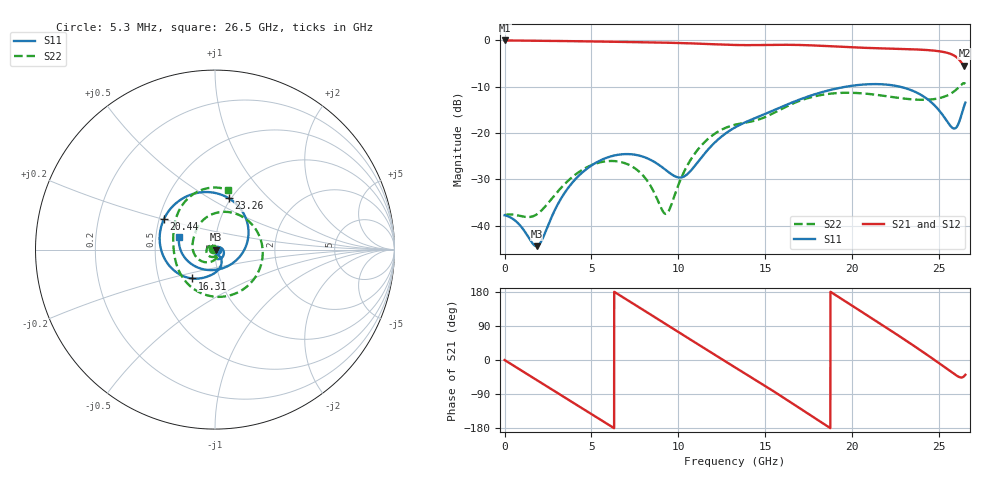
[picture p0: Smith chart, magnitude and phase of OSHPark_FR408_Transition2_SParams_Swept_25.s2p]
! TOUCHSTONE file generated by CST MICROWAVE STUDIO
! Date and time: Tue Jan  7 09:43:39 2020
! Project name: OSHPark_FR408_Transition2.cst
! Parameters = {GND_Plane_XMax=12.25; Cap_Disk_XOffset=0; Cap_Disk2_YCenter=-1.03; Cap_Disk_YCenter=1.03; Cap_Disk_XCenter=7.39; Cap_Disk_Radius=0.5; BottomSupport_Left_YMax=4.76; BottomSupport_Left_YMin=3.74; BottomSupport_Right_YMax=-3.74; BottomSupport_Right_YMin=-4.76; BottomSupport_XMax=11.64; 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
! Header version: 2015
! Port assignment regex: !\s*Touchstone port\s*([0-9]+)\s*=\s*CST MWS port\s*([0-9]+)\s*\(\"(.*)\"\)(\s*mode\s*([0-9]+))?.*
! Touchstone port assignment:
! Touchstone port 1 = CST MWS port 1 ("")
! Touchstone port 2 = CST MWS port 2 ("")
# GHz S MA R 50
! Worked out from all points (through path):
!   5000 points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, 5.3 MHz to 26.5 GHz, reference 50 ohm
!   highest |S21| = 0.00 dB at 10.6 MHz (marker M1); lowest = -5.4 dB at 26.44 GHz (marker M2)
!   group delay of S21, straight-line fit = 80.8 ps
!   lowest |S11| = -44.5 dB at 1.839 GHz (marker M3), VSWR 1.01, Z = 50.6 + j0.0345 ohm
!   |S11| at or under -10 dB: start of sweep to 19.62 GHz; 22.74 GHz to end of sweep
!   |S22| runs from -38.2 to -9.2 dB; largest |S21 - S12| = 0
!   S11 on the Smith chart (normalised r, x): 5.3 MHz: 1.02, -0.01; 16.31 GHz: 0.74, -0.25; 20.44 GHz: 0.53, +0.20; 23.26 GHz: 0.98, +0.61; 26.5 GHz: 0.66, +0.10
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0.0053  0.01291 -22.8  0.9999 -0.2  0.9999 -0.2  0.01303 155.4
0.0106  0.01291 -23.3  0.9999 -0.3  0.9999 -0.3  0.01303 155.6
1.8391  0.005988 3.3  0.993 -52.5  0.993 -52.5  0.01315 38.6
3.127  0.01785 39.4  0.9868 -89.3  0.9868 -89.3  0.02409 -41.9
4.4255  0.03679 13.3  0.9794 -126.4  0.9794 -126.4  0.03947 -94.1
6.5614  0.05831 -41.1  0.9658 172.6  0.9658 172.6  0.04911 -165.2
8.8404  0.04578 -86.3  0.9497 107.3  0.9497 107.3  0.01818 92.0
9.3916  0.03829 -87.5  0.9449 91.4  0.9449 91.4  0.01388 16.3
10.2767  0.03361 -69.6  0.9355 65.8  0.9355 65.8  0.03652 -64.9
11.3314  0.05471 -55.2  0.9211 35.4  0.9211 35.4  0.07383 -110.7
13.2553  0.115 -81.0  0.8937 -19.2  0.8937 -19.2  0.1228 -178.2
14.9301  0.1592 -107.3  0.8938 -66.7  0.8938 -66.7  0.1471 137.3
16.3081  0.2053 -128.4  0.8976 -107.3  0.8976 -107.3  0.1975 94.9
17.6702  0.2559 -152.9  0.8847 -148.2  0.8847 -148.2  0.2448 41.4
18.9952  0.2997 -179.4  0.8613 172.4  0.8613 172.4  0.269 -12.9
20.4368  0.3316 148.9  0.8362 130.1  0.8362 130.1  0.2693 -67.8
22.0851  0.3317 108.3  0.8169 81.4  0.8169 81.4  0.248 -120.5
23.2617  0.2961 74.9  0.805 45.9  0.805 45.9  0.2324 -151.2
24.7775  0.1945 18.7  0.7733 -1.6  0.7733 -1.6  0.2336 173.4
25.8534  0.1117 -75.3  0.6866 -36.9  0.6866 -36.9  0.2819 139.6
26.4417  0.2001 173.6  0.536 -42.0  0.536 -42.0  0.3454 87.1
26.5  0.213 160.0  0.5455 -38.9  0.5455 -38.9  0.3392 76.6
